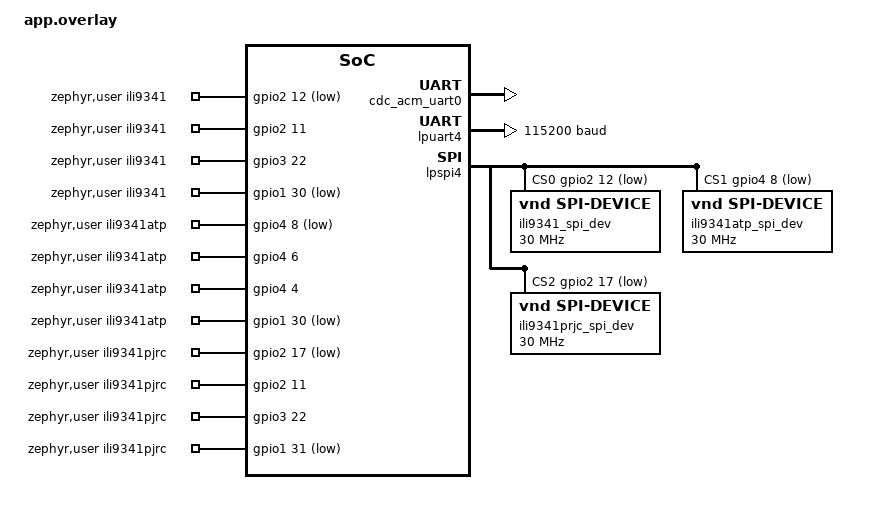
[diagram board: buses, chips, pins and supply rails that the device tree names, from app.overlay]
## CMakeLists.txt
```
# SPDX-License-Identifier: Apache-2.0

cmake_minimum_required(VERSION 3.20.0)
find_package(Zephyr REQUIRED HINTS $ENV{ZEPHYR_BASE})
project(ili9341_test)

#include(../common/common.cmake)
FILE(GLOB app_sources src/*.cpp  app_sources src/*.c app_sources ../common/src/*.cpp)
target_include_directories(app PRIVATE ../common/include )
target_sources(app PRIVATE ${app_sources})
```

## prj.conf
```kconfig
#CONFIG_STDOUT_CONSOLE=y
CONFIG_USB_DEVICE_STACK=y
CONFIG_USB_DEVICE_PRODUCT="Teensy Serial"
CONFIG_USB_DEVICE_VID=0x16c0
CONFIG_USB_DEVICE_PID=0x0483
CONFIG_LOG=y
CONFIG_USB_DRIVER_LOG_LEVEL_ERR=y
CONFIG_USB_DEVICE_LOG_LEVEL_ERR=y
CONFIG_SERIAL=y

CONFIG_USB_CDC_ACM=y
CONFIG_USB_CDC_ACM_RINGBUF_SIZE=512
CONFIG_UART_LINE_CTRL=y
CONFIG_CDC_ACM_DTE_RATE_CALLBACK_SUPPORT=y


CONFIG_UART_INTERRUPT_DRIVEN=y
CONFIG_USB_DEVICE_INITIALIZE_AT_BOOT=n
CONFIG_GPIO=y
CONFIG_SPI=y
CONFIG_SPI_ASYNC=y
CONFIG_POLL=y
CONFIG_STATIC_INIT_GNU=y

# Enable uart driver
CONFIG_SERIAL=y

# Console
CONFIG_CONSOLE=y
CONFIG_UART_CONSOLE=y
CONFIG_USB_CDC_ACM_LOG_LEVEL_DBG=n
#CONFIG_USB_DEVICE_STACK_NEXT=y
#CONFIG_SPI_LOG_LEVEL_DBG=y
```

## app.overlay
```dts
/*
 * Copyright (c) 2021 Nordic Semiconductor ASA
 *
 * SPDX-License-Identifier: Apache-2.0
 */

&zephyr_udc0 {
	cdc_acm_uart0 {
		compatible = "zephyr,cdc-acm-uart";
		label = "Zephyr USB CDC-ACM";
	};
};

/ {
	aliases {
	};
	zephyr,user {
		ili9341-gpios = <&gpio2 12 GPIO_ACTIVE_LOW>,	/* CS PIN 32 mmod */
						<&gpio2 11 GPIO_ACTIVE_HIGH>,	/* DC PIN 9 mmod */
						<&gpio3 22 GPIO_ACTIVE_HIGH>,	/* RST Pin 31 */
						<&gpio1 30 GPIO_ACTIVE_LOW>;	/* touch cs Pin 26 */

		/* ATP with our Teensy adapter*/
		ili9341atp-gpios = <&gpio4 8 GPIO_ACTIVE_LOW>,	/* CS PIN 5 mmod */
						<&gpio4 6 GPIO_ACTIVE_HIGH>,	/* DC PIN 4 mmod */
						<&gpio4 4 GPIO_ACTIVE_HIGH>,	/* RST Pin 2 */
						<&gpio1 30 GPIO_ACTIVE_LOW>;	/* touch cs Pin 26 */
            
    /* PJRC Teensy ATP Board  */
		ili9341pjrc-gpios = <&gpio2 17 GPIO_ACTIVE_LOW>,	/* CS PIN 10 mmod */
						<&gpio2 11 GPIO_ACTIVE_HIGH>,	/* DC PIN 9 mmod */
						<&gpio3 22 GPIO_ACTIVE_HIGH>,	/* RST Pin 31 */
						<&gpio1 31 GPIO_ACTIVE_LOW>;	/* touch cs Pin 27 */



	};
	
	chosen {
		//uart,passthrough = &lpuart4; // Teensy pins 7(RX) 8(TX)
		//spi,ili9341 = &lpspi4;

	};
};

&lpuart4 {
	current-speed = <115200>;
	status = "okay";
};

&pinctrl {

	/* LPSPI4 MISO, MOSI, SCK, CS on Teensy-Pins 12/11/13/10 */
	pinmux_lpspi4: pinmux_lpspi4 {
		group0 {
			pinmux = <&iomuxc_gpio_b0_03_lpspi4_sck>,
				<&iomuxc_gpio_b0_01_lpspi4_sdi>,
				<&iomuxc_gpio_b0_02_lpspi4_sdo>;
			drive-strength = "r0-6";
			slew-rate = "fast";
			nxp,speed = "100-mhz";
		};
	};
};

&lpspi4 {
	transfer-delay = <50>;
	status = "okay";	
	pinctrl-0 = <&pinmux_lpspi4>;
	pcs-sck-delay= <25>;
	sck-pcs-delay= <25>;
	pinctrl-names = "default";

	cs-gpios = <&gpio2 12 GPIO_ACTIVE_LOW>,  <&gpio4 8 GPIO_ACTIVE_LOW>,  <&gpio2 17 GPIO_ACTIVE_LOW>;
  
	ili9341_spi_dev: ili9341_spi_dev@0 {
		compatible = "vnd,spi-device";
		reg = <0>;
		spi-max-frequency = <30000000>;
	};

	ili9341atp_spi_dev: ili9341atp_spi_dev@1 {
		compatible = "vnd,spi-device";
		reg = <1>;
		spi-max-frequency = <30000000>;
	};

	ili9341prjc_spi_dev: ili9341pjrc_spi_dev@2 {
		compatible = "vnd,spi-device";
		reg = <2>;
		spi-max-frequency = <30000000>;
	};
};
```

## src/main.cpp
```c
/*
 * Copyright (c) 2019 Intel Corporation
 *
 * SPDX-License-Identifier: Apache-2.0
 */

/**
 * @file
 * @brief Sample echo app for CDC ACM class
 *
 * Sample app for USB CDC ACM class driver. The received data is echoed back
 * to the serial port.
 */
#include <stdio.h>
#include <string.h>
#include <zephyr/device.h>
#include <zephyr/drivers/uart.h>
#include <zephyr/kernel.h>
#include <zephyr/sys/ring_buffer.h>

#include <zephyr/usb/usb_device.h>
#include <zephyr/usb/usbd.h>
#include <zephyr/logging/log.h>
#include <zephyr/drivers/gpio.h>


LOG_MODULE_REGISTER(main, LOG_LEVEL_INF);
#include "USBSerialDevice.h"

#include "UARTDevice.h"

#include "ILI9341_GIGA_zephyr.h"

#define ATP
//#define PJRC

//static const struct gpio_dt_spec connector_pins[] = {DT_FOREACH_PROP_ELEM_SEP(
//    DT_PATH(zephyr_user), digital_pin_gpios, GPIO_DT_SPEC_GET_BY_IDX, (, ))};

const struct device *const usb_uart_dev = DEVICE_DT_GET_ONE(zephyr_cdc_acm_uart);
//const struct device *const serial_dev = DEVICE_DT_GET(DT_CHOSEN(uart_passthrough));
//const struct device *const ili9341_spi =  DEVICE_DT_GET(DT_CHOSEN(spi_ili9341));
#define SPI_OP (SPI_WORD_SET(8) | SPI_OP_MODE_MASTER | SPI_TRANSFER_MSB )

#if defined(ATP)
static struct spi_dt_spec ili9341_spi =
	SPI_DT_SPEC_GET(DT_NODELABEL(ili9341atp_spi_dev), SPI_OP, 0);
#elif defined(PJRC)
static struct spi_dt_spec ili9341_spi =
	SPI_DT_SPEC_GET(DT_NODELABEL(ili9341prjc_spi_dev), SPI_OP, 0);
#else
static struct spi_dt_spec ili9341_spi =
	SPI_DT_SPEC_GET(DT_NODELABEL(ili9341_spi_dev), SPI_OP, 0);
#endif

inline int min(int a, int b) {
	return (a <= b)? a : b;
}

inline void delay(uint32_t ms) {
	k_sleep(K_MSEC(ms));
}

// Need to do this.
unsigned long micros(void) {
#ifdef CONFIG_TIMER_HAS_64BIT_CYCLE_COUNTER
  return k_cyc_to_us_floor32(k_cycle_get_64());
#else
  return k_cyc_to_us_floor32(k_cycle_get_32());
#endif
 }

#if defined(ATP)
static const struct gpio_dt_spec ili9341_pins[] = {DT_FOREACH_PROP_ELEM_SEP(
    DT_PATH(zephyr_user), ili9341atp_gpios, GPIO_DT_SPEC_GET_BY_IDX, (, ))};
#elif defined(PJRC)
static const struct gpio_dt_spec ili9341_pins[] = {DT_FOREACH_PROP_ELEM_SEP(
    DT_PATH(zephyr_user), ili9341pjrc_gpios, GPIO_DT_SPEC_GET_BY_IDX, (, ))};
#else
static const struct gpio_dt_spec ili9341_pins[] = {DT_FOREACH_PROP_ELEM_SEP(
    DT_PATH(zephyr_user), ili9341_gpios, GPIO_DT_SPEC_GET_BY_IDX, (, ))};
#endif

ILI9341_GIGA_n tft(&ili9341_spi, &ili9341_pins[0], &ili9341_pins[1], &ili9341_pins[2]);


//=================================================================
// forward references of functions
extern unsigned long testFillScreen();
extern unsigned long testText();
extern unsigned long testLines(uint16_t color);
extern unsigned long testFastLines(uint16_t color1, uint16_t color2);
extern unsigned long testRects(uint16_t color);
extern unsigned long testFilledRects(uint16_t color1, uint16_t color2);
extern unsigned long testFilledCircles(uint8_t radius, uint16_t color);
extern unsigned long testCircles(uint8_t radius, uint16_t color);
extern unsigned long testTriangles();
extern unsigned long testFilledTriangles();
extern unsigned long testRoundRects();
extern unsigned long testFilledRoundRects();
extern void WaitForUserInput();


int main(void)
{
	int ret;



	USBSerial.begin();
#if 0
	USBSerial.printf("cs: %p %u %x\n", ili9341_pins[0].port, ili9341_pins[0].pin, ili9341_pins[0].dt_flags);
	USBSerial.printf("dc: %p %u %x\n", ili9341_pins[1].port, ili9341_pins[1].pin, ili9341_pins[1].dt_flags);
	USBSerial.printf("rst: %p %u %x\n",ili9341_pins[2].port, ili9341_pins[2].pin, ili9341_pins[2].dt_flags);
	if (ARRAY_SIZE(ili9341_pins) > 3) {
		USBSerial.printf("touch cs: %p %u %x\n",ili9341_pins[3].port, ili9341_pins[3].pin, ili9341_pins[3].dt_flags);
  		gpio_pin_configure_dt(&ili9341_pins[3], GPIO_OUTPUT_LOW | GPIO_ACTIVE_HIGH);
  		gpio_pin_set_dt(&ili9341_pins[3] , 1);
	}
#endif
	//USBSerial.printf("SPI readdy? %c\n"), spi_is_ready_dt(&ili9341_spi)? 'Y': 'N');
	//USBSerial.printf("SPI readdy? %c\n"), spi_is_ready_dt(&ili9341_spi)? 'Y': 'N');

	tft.setDebugUART(&USBSerial);
	tft.begin();
	tft.setRotation(1);

	tft.fillScreen(ILI9341_BLACK);
	k_sleep(K_MSEC(500));
	tft.fillScreen(ILI9341_RED);
	k_sleep(K_MSEC(500));
	tft.fillScreen(ILI9341_GREEN);
	k_sleep(K_MSEC(500));
	tft.fillScreen(ILI9341_BLUE);
	k_sleep(K_MSEC(500));
	tft.fillScreen(ILI9341_WHITE);
#if 0
	tft.drawLine(0, tft.height()/2, tft.width()-1, tft.height()/2, ILI9341_RED);

	uint32_t *lpspi4_regs = (uint32_t*)0x403A0000ul;
	USBSerial.printf(" VERID: %08X\n", lpspi4_regs[0x0/4]); k_sleep(K_MSEC(100));
	USBSerial.printf(" PARAM: %08X\n", lpspi4_regs[0x4/4]); k_sleep(K_MSEC(100));
	USBSerial.printf(" CR: %08X\n", lpspi4_regs[0x10/4]); k_sleep(K_MSEC(100));
	USBSerial.printf(" SR: %08X\n", lpspi4_regs[0x14/4]); k_sleep(K_MSEC(100));
	USBSerial.printf(" IER: %08X\n", lpspi4_regs[0x18/4]); k_sleep(K_MSEC(100));
	USBSerial.printf(" DER: %08X\n", lpspi4_regs[0x1C/4]); k_sleep(K_MSEC(100));
	USBSerial.printf(" CFGR0: %08X\n", lpspi4_regs[0x20/4]); k_sleep(K_MSEC(100));
	USBSerial.printf(" CFGR1: %08X\n", lpspi4_regs[0x24/4]); k_sleep(K_MSEC(100));
	USBSerial.printf(" DMR0: %08X\n", lpspi4_regs[0x30/4]); k_sleep(K_MSEC(100));
	USBSerial.printf(" DMR1: %08X\n", lpspi4_regs[0x34/4]); k_sleep(K_MSEC(100));
	USBSerial.printf(" CCR: %08X\n", lpspi4_regs[0x40/4]); k_sleep(K_MSEC(100));
	USBSerial.printf(" FCR: %08X\n", lpspi4_regs[0x58/4]); k_sleep(K_MSEC(100));
	USBSerial.printf(" FSR: %08X\n", lpspi4_regs[0x5C/4]); k_sleep(K_MSEC(100));
	USBSerial.printf(" TCR: %08X\n", lpspi4_regs[0x60/4]); k_sleep(K_MSEC(100));
//	USBSerial.printf(" TDR: %08X\n", lpspi4_regs[0x64/4]); k_sleep(K_MSEC(100)); // Write only register
	USBSerial.printf(" RSR: %08X\n", lpspi4_regs[0x70/4]); k_sleep(K_MSEC(100));
	USBSerial.printf(" RDR: %08X\n", lpspi4_regs[0x74/4]); k_sleep(K_MSEC(100));

#endif
  
	// lets try the graphic tests
  USBSerial.print("Benchmark                Time (microseconds)\n");

  USBSerial.print("Screen fill              ");
  USBSerial.println(testFillScreen());
  WaitForUserInput();
  delay(200);

  USBSerial.print("Text                     ");
  USBSerial.println(testText());
  delay(600);
  WaitForUserInput();

  USBSerial.print("Lines                    ");
  USBSerial.println(testLines(ILI9341_CYAN));
  delay(200);
  

  WaitForUserInput();

  USBSerial.print("Horiz/Vert Lines         ");
  USBSerial.println(testFastLines(ILI9341_RED, ILI9341_BLUE));
  delay(200);
  WaitForUserInput();

  USBSerial.print("Rectangles (outline)     ");
  USBSerial.println(testRects(ILI9341_GREEN));
  delay(200);
  WaitForUserInput();

  USBSerial.print("Rectangles (filled)      ");
  USBSerial.println(testFilledRects(ILI9341_YELLOW, ILI9341_MAGENTA));
  delay(200);
  WaitForUserInput();

  USBSerial.print("Circles (filled)         ");
  USBSerial.println(testFilledCircles(10, ILI9341_MAGENTA));
  WaitForUserInput();

  USBSerial.print("Circles (outline)        ");
  USBSerial.println(testCircles(10, ILI9341_WHITE));
  delay(200);
  WaitForUserInput();

  USBSerial.print("Triangles (outline)      ");
  USBSerial.println(testTriangles());
  delay(200);
  WaitForUserInput();

  USBSerial.print("Triangles (filled)       ");
  USBSerial.println(testFilledTriangles());
  delay(200);
  WaitForUserInput();

  USBSerial.print("Rounded rects (outline)  ");
  USBSerial.println(testRoundRects());
  delay(200);
  WaitForUserInput();

  USBSerial.print("Rounded rects (filled)   ");
  USBSerial.println(testFilledRoundRects());
  WaitForUserInput();



    for (;;) {
	//		gpio_pin_toggle_dt(&led);
  	    for (uint8_t rotation = 0; rotation < 4; rotation++) {
    	    tft.setRotation(rotation);
    	    testText();
    	    delay(1000);
  	    }
	}
	return 0;
}

unsigned long testFillScreen() {
  unsigned long start = micros();
  tft.fillScreen(ILI9341_BLACK);
  tft.fillScreen(ILI9341_RED);
  tft.fillScreen(ILI9341_GREEN);
  tft.fillScreen(ILI9341_BLUE);
  tft.fillScreen(ILI9341_BLACK);
  return micros() - start;
}

unsigned long testText() {
  tft.fillScreen(ILI9341_BLACK);
  unsigned long start = micros();
  tft.setCursor(0, 0);
  tft.setTextColor(ILI9341_WHITE);  tft.setTextSize(1);
  tft.println("Hello World!");
//  tft.setTextColor(ILI9341_YELLOW); tft.setTextSize(2);
//  tft.println(1234.56);
//  tft.setTextColor(ILI9341_RED);    tft.setTextSize(3);
//  tft.println(0xDEADBEEF, HEX);
//  tft.println();
  tft.setTextColor(ILI9341_GREEN);
  tft.setTextSize(5);
  tft.println("Groop");
  tft.setTextSize(2);
  tft.println("I implore thee,");
  tft.setTextSize(1);
  tft.println("my foonting turlingdromes.");
  tft.println("And hooptiously drangle me");
  tft.println("with crinkly bindlewurdles,");
  tft.println("Or I will rend thee");
  tft.println("in the gobberwarts");
  tft.println("with my blurglecruncheon,");
  tft.println("see if I don't!");
  return micros() - start;
}

unsigned long testLines(uint16_t color) {
  unsigned long start, t;
  int           x1, y1, x2, y2,
                w = tft.width(),
                h = tft.height();

  tft.fillScreen(ILI9341_BLACK);

  x1 = y1 = 0;
  y2    = h - 1;
  start = micros();
  for (x2 = 0; x2 < w; x2 += 6) tft.drawLine(x1, y1, x2, y2, color);
  x2    = w - 1;
  for (y2 = 0; y2 < h; y2 += 6) tft.drawLine(x1, y1, x2, y2, color);
  t     = micros() - start; // fillScreen doesn't count against timing

  tft.fillScreen(ILI9341_BLACK);

  x1    = w - 1;
  y1    = 0;
  y2    = h - 1;
  start = micros();
  for (x2 = 0; x2 < w; x2 += 6) tft.drawLine(x1, y1, x2, y2, color);
  x2    = 0;
  for (y2 = 0; y2 < h; y2 += 6) tft.drawLine(x1, y1, x2, y2, color);
  t    += micros() - start;

  tft.fillScreen(ILI9341_BLACK);

  x1    = 0;
  y1    = h - 1;
  y2    = 0;
  start = micros();
  for (x2 = 0; x2 < w; x2 += 6) tft.drawLine(x1, y1, x2, y2, color);
  x2    = w - 1;
  for (y2 = 0; y2 < h; y2 += 6) tft.drawLine(x1, y1, x2, y2, color);
  t    += micros() - start;

  tft.fillScreen(ILI9341_BLACK);

  x1    = w - 1;
  y1    = h - 1;
  y2    = 0;
  start = micros();
  for (x2 = 0; x2 < w; x2 += 6) tft.drawLine(x1, y1, x2, y2, color);
  x2    = 0;
  for (y2 = 0; y2 < h; y2 += 6) tft.drawLine(x1, y1, x2, y2, color);

  return micros() - start;
}

unsigned long testFastLines(uint16_t color1, uint16_t color2) {
  unsigned long start;
  int           x, y, w = tft.width(), h = tft.height();

  tft.fillScreen(ILI9341_BLACK);
  USBSerial.printf("W:%u H:%u\n", tft.width(), tft.height());
  start = micros();
  for (y = 0; y < h; y += 5) {tft.drawFastHLine(0, y, w, color1); USBSerial.printf("H: %d %d %x\n", y, w, color1);}
  for (x = 0; x < w; x += 5) {tft.drawFastVLine(x, 0, h, color2); USBSerial.printf("V: %d %d %x\n", x, h, color2);}

  return micros() - start;
}

unsigned long testRects(uint16_t color) {
  unsigned long start;
  int           n, i, i2,
                cx = tft.width()  / 2,
                cy = tft.height() / 2;

  tft.fillScreen(ILI9341_BLACK);
  n     = min(tft.width(), tft.height());
  start = micros();
  for (i = 2; i < n; i += 6) {
    i2 = i / 2;
    tft.drawRect(cx - i2, cy - i2, i, i, color);
  }

  return micros() - start;
}

unsigned long testFilledRects(uint16_t color1, uint16_t color2) {
  unsigned long start, t = 0;
  int           n, i, i2,
                cx = tft.width()  / 2 - 1,
                cy = tft.height() / 2 - 1;

  tft.fillScreen(ILI9341_BLACK);
  n = min(tft.width(), tft.height()) - 1;
  for (i = n; i > 0; i -= 6) {
    i2    = i / 2;
    start = micros();
    tft.fillRect(cx - i2, cy - i2, i, i, color1);
    t    += micros() - start;
    // Outlines are not included in timing results
    tft.drawRect(cx - i2, cy - i2, i, i, color2);
  }

  return t;
}

unsigned long testFilledCircles(uint8_t radius, uint16_t color) {
  unsigned long start;
  int x, y, w = tft.width(), h = tft.height(), r2 = radius * 2;

  tft.fillScreen(ILI9341_BLACK);
  start = micros();
  for (x = radius; x < w; x += r2) {
    for (y = radius; y < h; y += r2) {
      tft.fillCircle(x, y, radius, color);
    }
  }

  return micros() - start;
}

unsigned long testCircles(uint8_t radius, uint16_t color) {
  unsigned long start;
  int           x, y, r2 = radius * 2,
                      w = tft.width()  + radius,
                      h = tft.height() + radius;

  // Screen is not cleared for this one -- this is
  // intentional and does not affect the reported time.
  start = micros();
  for (x = 0; x < w; x += r2) {
    for (y = 0; y < h; y += r2) {
      tft.drawCircle(x, y, radius, color);
    }
  }

  return micros() - start;
}

unsigned long testTriangles() {
  unsigned long start;
  int           n, i, cx = tft.width()  / 2 - 1,
                      cy = tft.height() / 2 - 1;

  tft.fillScreen(ILI9341_BLACK);
  n     = min(cx, cy);
  start = micros();
  for (i = 0; i < n; i += 5) {
    tft.drawTriangle(
      cx    , cy - i, // peak
      cx - i, cy + i, // bottom left
      cx + i, cy + i, // bottom right
      tft.color565(0, 0, i));
  }

  return micros() - start;
}

unsigned long testFilledTriangles() {
  unsigned long start, t = 0;
  int           i, cx = tft.width()  / 2 - 1,
                   cy = tft.height() / 2 - 1;

  tft.fillScreen(ILI9341_BLACK);
  start = micros();
  for (i = min(cx, cy); i > 10; i -= 5) {
    start = micros();
    tft.fillTriangle(cx, cy - i, cx - i, cy + i, cx + i, cy + i,
                     tft.color565(0, i, i));
    t += micros() - start;
    tft.drawTriangle(cx, cy - i, cx - i, cy + i, cx + i, cy + i,
                     tft.color565(i, i, 0));
  }

  return t;
}

unsigned long testRoundRects() {
  unsigned long start;
  int           w, i, i2,
                cx = tft.width()  / 2 - 1,
                cy = tft.height() / 2 - 1;

  tft.fillScreen(ILI9341_BLACK);
  w     = min(tft.width(), tft.height()) - 1;
  start = micros();
  for (i = 0; i < w; i += 6) {
    i2 = i / 2;
    tft.drawRoundRect(cx - i2, cy - i2, i, i, i / 8, tft.color565(i, 0, 0));
  }

  return micros() - start;
}

unsigned long testFilledRoundRects() {
  unsigned long start;
  int           i, i2,
                cx = tft.width()  / 2 - 1,
                cy = tft.height() / 2 - 1;

  tft.fillScreen(ILI9341_BLACK);
  start = micros();
  for (i = min(tft.width(), tft.height()) - 1; i > 20; i -= 6) {
    i2 = i / 2;
    tft.fillRoundRect(cx - i2, cy - i2, i, i, i / 8, tft.color565(0, i, 0));
  }

  return micros() - start;
}

void WaitForUserInput() {
    USBSerial.print("Hit key to continue\n");
    while (USBSerial.read() == -1) ;
    while (USBSerial.read() != -1) ;
    USBSerial.print("Done!\n");
}
```

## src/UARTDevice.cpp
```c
#include "UARTDevice.h"
#include <zephyr/logging/log.h>

// This is more or less the same as the Arduino wrapper...

void UARTDevice::begin() {
	if (!device_is_ready(_uart)) {
		printk("ERROR: UART device not ready");
		return;;
	}
	// probably more later, just make sure rx is setup as well as our handler
	uart_irq_callback_user_data_set(_uart, UARTDevice::interrupt_handler, this);

	// Clear the two buffers.
	k_sem_take(&_rx_sem, K_FOREVER);
	ring_buf_reset(&_rx_ringbuf);
	k_sem_give(&_rx_sem);

	k_sem_take(&_tx_sem, K_FOREVER);
	ring_buf_reset(&_tx_ringbuf);
	k_sem_give(&_tx_sem);

	// Enable the RX interrupt.
	uart_irq_rx_enable(_uart);
}


void UARTDevice::flush() {
	while (ring_buf_size_get(&_tx_ringbuf) > 0) {
		k_yield();
	}
	while (uart_irq_tx_complete(_uart) == 0){
		k_yield();
	}

}

size_t UARTDevice::write(const uint8_t *buffer, size_t size) {
	int idx = 0;

	while (1) {
		k_sem_take(&_tx_sem, K_FOREVER);
		auto ret = ring_buf_put(&_tx_ringbuf, &buffer[idx], size-idx);
		k_sem_give(&_tx_sem);
		if (ret < 0) {
			return 0;
		}
		idx += ret;
		if (ret == 0) {
			uart_irq_tx_enable(_uart);
			k_yield();
		}
		if (idx == size) {
			break;
		}
	}

	uart_irq_tx_enable(_uart);

	return size;

}

size_t UARTDevice::print(const char *sz) {
	return write((const uint8_t*)sz, strlen(sz));
}

size_t UARTDevice::println(unsigned long ul) {
	char buffer[10];
	sprintf(buffer, "%lu\n");
	return write((const uint8_t*)buffer, strlen(buffer));
}



size_t UARTDevice::printf(const char *format, ...) {
	char buffer[80];
	va_list ap;
	va_start(ap, format);
	int cb_ret = vsnprintf(buffer, sizeof(buffer),format, ap);
	write((const uint8_t*)buffer, cb_ret);
	return cb_ret;
}


int UARTDevice::available() {
	int ret;

	k_sem_take(&_rx_sem, K_FOREVER);
	ret = ring_buf_size_get(&_rx_ringbuf);
	k_sem_give(&_rx_sem);

	return ret;

}

int UARTDevice::availableForWrite() {
	int ret;

	k_sem_take(&_rx_sem, K_FOREVER);
	ret = ring_buf_space_get(&_rx_ringbuf);
	k_sem_give(&_rx_sem);

	return ret;

}

int UARTDevice::peek() {
	uint8_t data;
	k_sem_take(&_rx_sem, K_FOREVER);
	uint32_t cb_ret = ring_buf_peek(&_rx_ringbuf, &data, 1);
	k_sem_give(&_rx_sem);

	return cb_ret? data : -1;

}

int UARTDevice::read(uint8_t *buffer, size_t size) {// currently not like Arduino only what is there...
    k_sem_take(&_rx_sem, K_FOREVER);
    uint32_t cb_ret = ring_buf_get(&_rx_ringbuf, buffer, size);
	k_sem_give(&_rx_sem);

	return cb_ret;
}


int UARTDevice::read() {
	uint8_t data;

    k_sem_take(&_rx_sem, K_FOREVER);
    uint32_t cb_ret = ring_buf_get(&_rx_ringbuf, &data, 1);
	k_sem_give(&_rx_sem);

	return cb_ret? data : -1;

}


void UARTDevice::interrupt_handler(const struct device *dev, void *data) {
	reinterpret_cast<UARTDevice *>(data)->_process_interrupt();
}

// I am not going to have the IRQ take the semaphores for now...

void UARTDevice::_process_interrupt() {
	uint8_t buf[8];
	int length;
	int ret = 0;

	if (!uart_irq_update(_uart)) {
		return;
	}

	while (uart_irq_rx_ready(_uart) && ((length = uart_fifo_read(_uart, buf, sizeof(buf))) > 0)) {
		if (length > (int)sizeof(buf)) length = (int)sizeof(buf);
		ret = ring_buf_put(&_rx_ringbuf, &buf[0], length);

		if (ret < 0) {
			break;
		}
	}


	while (uart_irq_tx_ready(_uart) && ((length = ring_buf_size_get(&_tx_ringbuf)) > 0)) {
		if (length > (int)sizeof(buf)) length = (int)sizeof(buf);
		ring_buf_peek(&_tx_ringbuf, &buf[0], length);

		ret = uart_fifo_fill(_uart, &buf[0], length);
		if (ret < 0) {
			break;
		} else {
			ring_buf_get(&_tx_ringbuf, &buf[0], ret);
		}
	}

	if (ring_buf_size_get(&_tx_ringbuf) == 0) {
		uart_irq_tx_disable(_uart);
	}

}
```

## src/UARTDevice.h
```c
#ifndef _UARTDEVICE_H_
#define _UARTDEVICE_H_
#include <stdio.h>
#include <string.h>
#include <zephyr/device.h>
#include <zephyr/drivers/uart.h>
#include <zephyr/kernel.h>
#include <zephyr/sys/ring_buffer.h>

class UARTDevice {
public:
	UARTDevice(const struct device *const uart) : _uart(uart) {
		k_sem_init(&_rx_sem, 1, 1);
		ring_buf_init(&_rx_ringbuf, sizeof(_rx_buffer), _rx_buffer);
		k_sem_init(&_tx_sem, 1, 1);
		ring_buf_init(&_tx_ringbuf, sizeof(_tx_buffer), _tx_buffer);
	}

	enum {RX_BUFFER_SIZE=512, TX_BUFFER_SIZE=512};


	void begin(); // currently using the information from the device tree
	void flush();
	void end() { }
	size_t write(const uint8_t *buffer, size_t size);
	size_t write(const uint8_t data) { return write(&data, 1); }
	size_t print(const char *sz);
	size_t println(unsigned long ul); // total place holder
	size_t printf(const char *format, ...);
	int available();
  	int availableForWrite();
	int peek();
	int read(uint8_t *buffer, size_t size); // currently not like Arduino only what is there...
	int read();


	uint8_t _rx_buffer[RX_BUFFER_SIZE];
	struct ring_buf _rx_ringbuf;
	struct k_sem _rx_sem;

	uint8_t _tx_buffer[TX_BUFFER_SIZE];
	struct ring_buf _tx_ringbuf;
	struct k_sem _tx_sem;

//protected:
	static void interrupt_handler(const struct device *dev, void *user_data);
	void _process_interrupt();
	const struct device *const _uart;
};


#endif
```
